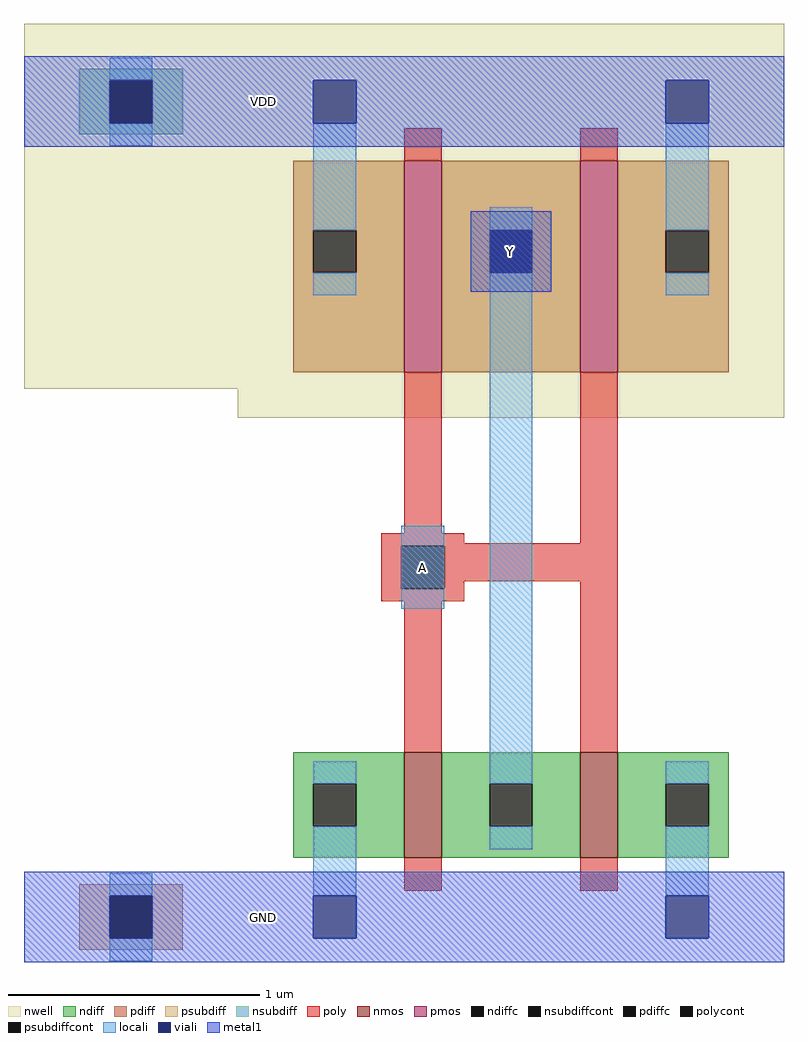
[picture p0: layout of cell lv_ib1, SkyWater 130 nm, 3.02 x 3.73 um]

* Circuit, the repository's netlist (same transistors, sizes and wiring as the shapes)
* NGSPICE file created from lv_ib1.ext - technology: sky130A

.subckt ib1 A Y VDD GND w_0_397# VSUBS
X0 GND A Y VSUBS sky130_fd_pr__nfet_01v8 ad=0.1848 pd=1.72 as=0.1155 ps=0.97 w=0.42 l=0.15
X1 VDD A Y w_0_397# sky130_fd_pr__pfet_01v8 ad=0.3696 pd=2.56 as=0.231 ps=1.39 w=0.84 l=0.15
X2 Y A VDD w_0_397# sky130_fd_pr__pfet_01v8 ad=0.231 pd=1.39 as=0.3696 ps=2.56 w=0.84 l=0.15
X3 Y A GND VSUBS sky130_fd_pr__nfet_01v8 ad=0.1155 pd=0.97 as=0.1848 ps=1.72 w=0.42 l=0.15
.ends

.subckt lv_ib1 A Y VDD GND
Xu A Y VDD GND VDD GND ib1
.ends

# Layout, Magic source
magic
tech sky130A
magscale 1 2
<< locali >>
rect 300 261 334 295
<< metal1 >>
rect 173 631 207 665
rect 370 512 404 546
rect 173 -17 207 17
use tap  t
transform 1 0 0 0 1 0
box 0 -36 170 710
use ib1  u
transform 1 0 170 0 1 0
box 0 -36 434 710
<< labels >>
rlabel locali 317 278 317 278 0 A
port 1 nsew
rlabel metal1 387 529 387 529 0 Y
port 2 nsew
rlabel metal1 190 648 190 648 0 VDD
port 3 nsew
rlabel metal1 190 0 190 0 0 GND
port 4 nsew
<< end >>

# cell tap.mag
magic
tech sky130A
magscale 1 2
<< nwell >>
rect 0 420 170 710
<< psubdiff >>
rect 44 17 126 26
rect 44 -17 68 17
rect 102 -17 126 17
rect 44 -26 126 -17
<< nsubdiff >>
rect 44 665 126 674
rect 44 631 68 665
rect 102 631 126 665
rect 44 622 126 631
<< psubdiffcont >>
rect 68 -17 102 17
<< nsubdiffcont >>
rect 68 631 102 665
<< locali >>
rect 68 665 102 683
rect 68 613 102 631
rect 68 17 102 35
rect 68 -35 102 -17
<< viali >>
rect 68 631 102 665
rect 68 -17 102 17
<< metal1 >>
rect 0 665 170 684
rect 0 631 68 665
rect 102 631 170 665
rect 0 612 170 631
rect 0 17 170 36
rect 0 -17 68 17
rect 102 -17 170 17
rect 0 -36 170 -17
<< labels >>
rlabel metal1 20 648 20 648 0 VDD
port 1 nsew
rlabel metal1 20 0 20 0 0 GND
port 2 nsew
<< end >>

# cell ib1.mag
magic
tech sky130A
magscale 1 2
<< nwell >>
rect 0 397 434 710
<< nmos >>
rect 132 47 162 131
rect 272 47 302 131
<< pmos >>
rect 132 433 162 601
rect 272 433 302 601
<< ndiff >>
rect 44 106 132 131
rect 44 72 60 106
rect 94 72 132 106
rect 44 47 132 72
rect 162 106 272 131
rect 162 72 200 106
rect 234 72 272 106
rect 162 47 272 72
rect 302 106 390 131
rect 302 72 340 106
rect 374 72 390 106
rect 302 47 390 72
<< pdiff >>
rect 44 546 132 601
rect 44 512 60 546
rect 94 512 132 546
rect 44 433 132 512
rect 162 546 272 601
rect 162 512 200 546
rect 234 512 272 546
rect 162 433 272 512
rect 302 546 390 601
rect 302 512 340 546
rect 374 512 390 546
rect 302 433 390 512
<< ndiffc >>
rect 60 72 94 106
rect 200 72 234 106
rect 340 72 374 106
<< pdiffc >>
rect 60 512 94 546
rect 200 512 234 546
rect 340 512 374 546
<< poly >>
rect 132 601 162 627
rect 272 601 302 627
rect 132 305 162 433
rect 114 297 180 305
rect 272 297 302 433
rect 114 295 302 297
rect 114 261 130 295
rect 164 267 302 295
rect 164 261 180 267
rect 114 251 180 261
rect 132 131 162 251
rect 272 131 302 267
rect 132 21 162 47
rect 272 21 302 47
<< polycont >>
rect 130 261 164 295
<< locali >>
rect 60 546 94 631
rect 60 494 94 512
rect 200 546 234 564
rect 130 295 164 311
rect 130 245 164 261
rect 60 106 94 124
rect 60 17 94 72
rect 200 106 234 512
rect 340 546 374 631
rect 340 494 374 512
rect 200 54 234 72
rect 340 106 374 124
rect 340 17 374 72
<< viali >>
rect 60 631 94 665
rect 340 631 374 665
rect 200 512 234 546
rect 60 -17 94 17
rect 340 -17 374 17
<< metal1 >>
rect 0 665 434 684
rect 0 631 60 665
rect 94 631 340 665
rect 374 631 434 665
rect 0 612 434 631
rect 185 546 249 561
rect 185 512 200 546
rect 234 512 249 546
rect 185 497 249 512
rect 0 17 434 36
rect 0 -17 60 17
rect 94 -17 340 17
rect 374 -17 434 17
rect 0 -36 434 -17
<< labels >>
rlabel polycont 147 278 147 278 0 A
port 1 nsew
rlabel viali 217 529 217 529 0 Y
port 2 nsew
rlabel metal1 20 648 20 648 0 VDD
port 3 nsew
rlabel metal1 20 0 20 0 0 GND
port 4 nsew
<< end >>
